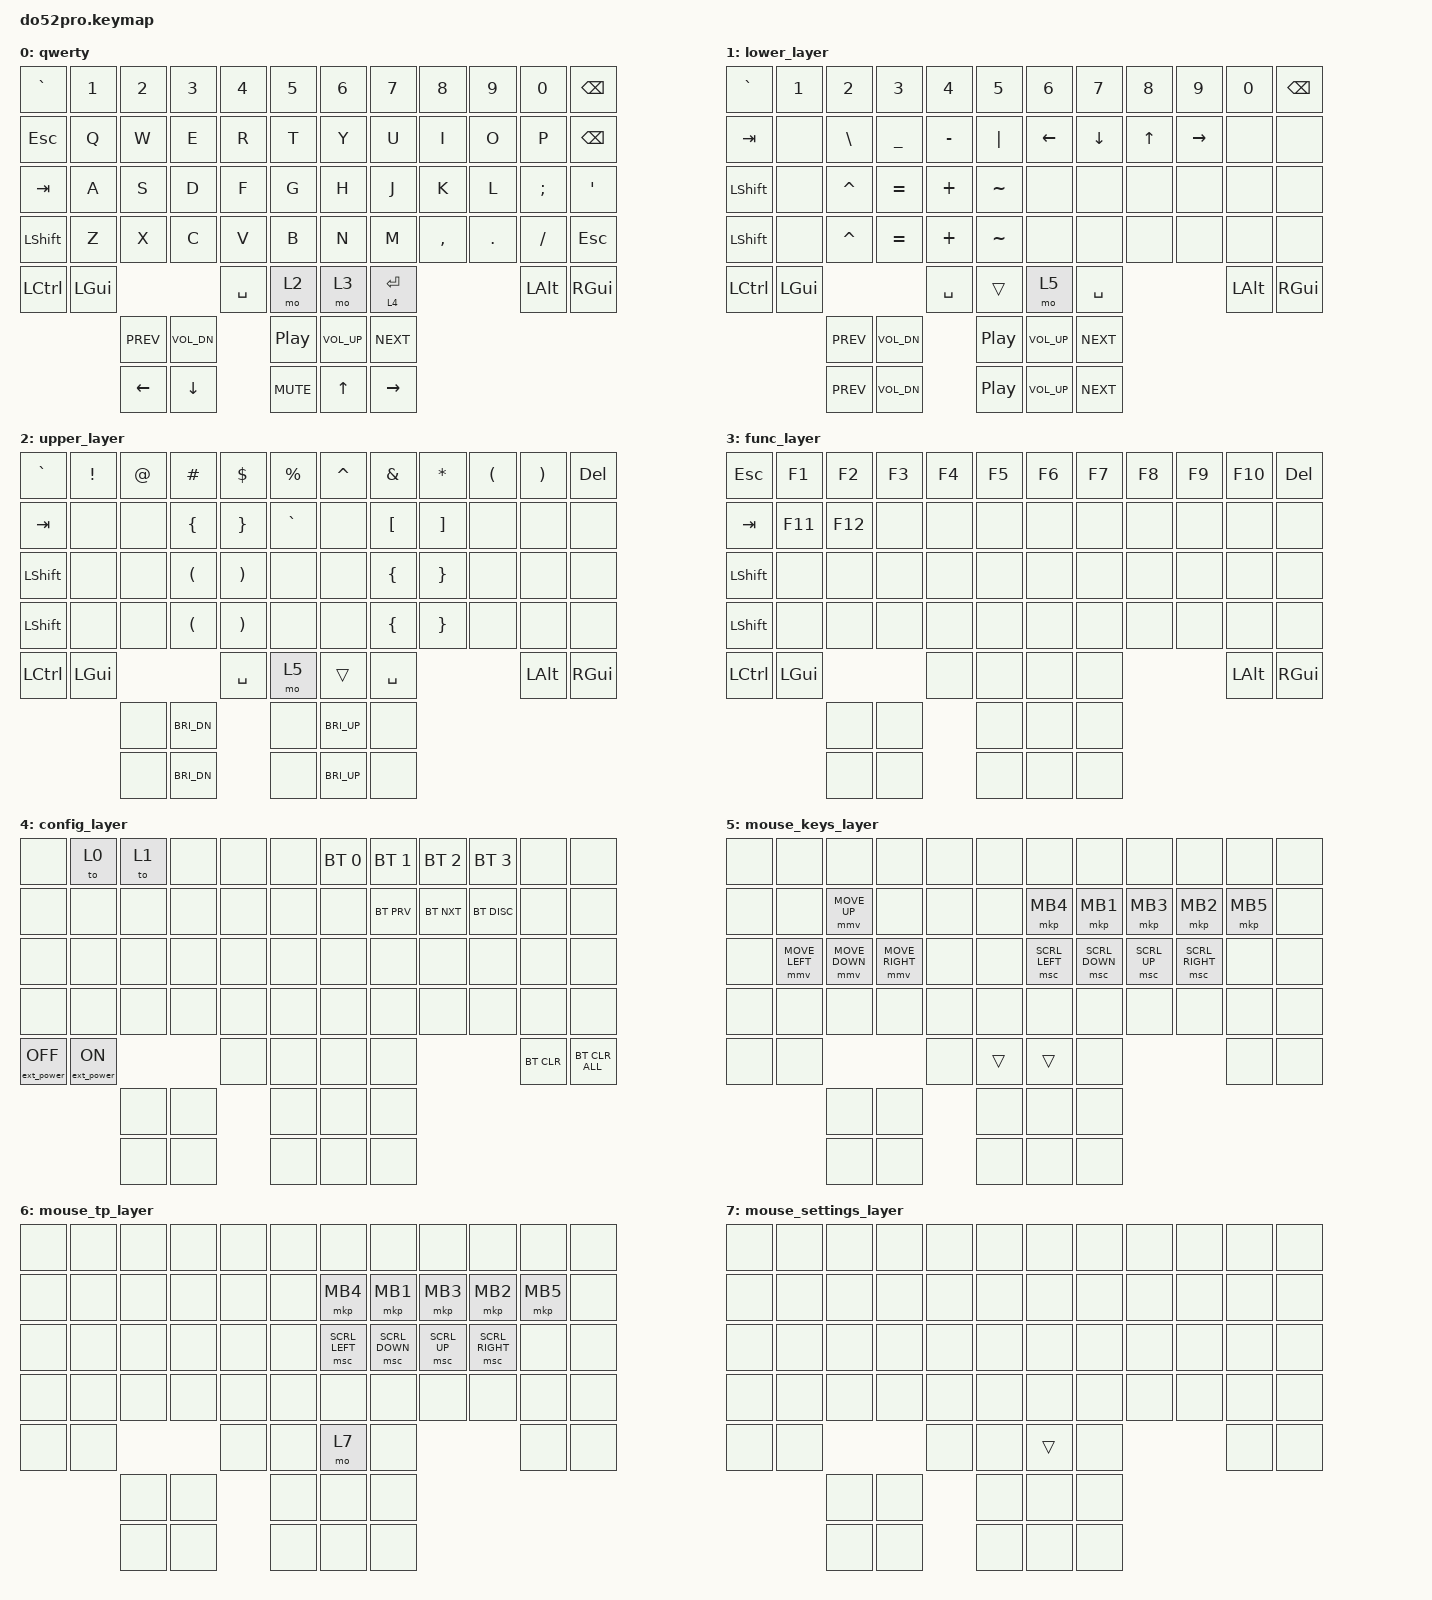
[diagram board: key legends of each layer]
#include <behaviors.dtsi>
#include <dt-bindings/zmk/keys.h>
#include <dt-bindings/zmk/bt.h>
#include <dt-bindings/zmk/ext_power.h>
#include <dt-bindings/zmk/pointing.h>

&lt {
    tapping-term-ms = <120>;
};

/ {
        keymap {
                compatible = "zmk,keymap";

                // Layer 0: QWERTY
                qwerty {
                        bindings = <
   &kp GRAVE &kp N1   &kp N2    &kp N3    &kp N4    &kp N5        &kp N6   &kp N7    &kp N8  &kp N9    &kp N0   &kp BSPC
   &kp ESC   &kp Q    &kp W &kp E  &kp R     &kp T       &kp Y    &kp U &kp I     &kp O   &kp P    &kp BSPC
   &kp TAB   &kp A    &kp S &kp D  &kp F     &kp G       &kp H    &kp J &kp K     &kp L   &kp SEMI &kp SQT
   &kp LSHFT &kp Z    &kp X &kp C  &kp V     &kp B       &kp N    &kp M &kp COMMA &kp DOT &kp FSLH &kp ESC
   &kp LCTRL &kp LGUI              &kp SPACE &mo 2       &mo 3    &lt 4 RET               &kp LALT &kp RGUI
                                    // DPAD Left, Down, Middle, Up, Right
                        &kp C_PREV &kp C_VOL_DN  &kp C_PP &kp C_VOL_UP &kp C_NEXT
                        &kp LEFT  &kp DOWN  &kp K_MUTE   &kp UP &kp RIGHT
                        >;
                };

                // Layer 1: Lower (numbers + navigation)
                lower_layer {
                        bindings = <
   &kp GRAVE &kp N1   &kp N2    &kp N3    &kp N4    &kp N5        &kp N6   &kp N7    &kp N8  &kp N9    &kp N0   &kp BSPC
   &kp TAB   &none    &kp BSLH  &kp UNDER &kp MINUS &kp PIPE      &kp LEFT &kp DOWN  &kp UP  &kp RIGHT &none    &none
   &kp LSHFT &none    &kp CARET &kp EQUAL &kp PLUS  &kp TILDE     &none    &none     &none   &none     &none    &none
   &kp LSHFT &none    &kp CARET &kp EQUAL &kp PLUS  &kp TILDE     &none    &none     &none   &none     &none    &none
   &kp LCTRL &kp LGUI                     &kp SPACE &trans        &mo 5    &kp SPACE                   &kp LALT &kp RGUI
                                    // DPAD Left, Down, Middle, Up, Right
                        &kp C_PREV &kp C_VOL_DN  &kp C_PP &kp C_VOL_UP &kp C_NEXT
                        &kp C_PREV &kp C_VOL_DN  &kp C_PP &kp C_VOL_UP &kp C_NEXT
                        >;
                };

                // Layer 2: Upper (symbols)
                upper_layer {
                        bindings = <
   &kp GRAVE &kp EXCL &kp AT &kp HASH &kp DLLR  &kp PRCNT        &kp CARET &kp AMPS  &kp ASTRK &kp LPAR &kp RPAR &kp DEL
   &kp TAB   &none    &none  &kp LBRC &kp RBRC  &kp GRAVE        &none     &kp LBKT  &kp RBKT  &none    &none    &none
   &kp LSHFT &none    &none  &kp LPAR &kp RPAR  &none            &none     &kp LBRC  &kp RBRC  &none    &none    &none
   &kp LSHFT &none    &none  &kp LPAR &kp RPAR  &none            &none     &kp LBRC  &kp RBRC  &none    &none    &none
   &kp LCTRL &kp LGUI                 &kp SPACE &mo 5            &trans    &kp SPACE                    &kp LALT &kp RGUI
                                    // DPAD Left, Down, Middle, Up, Right
                                    &none &kp C_BRI_DN  &none &kp C_BRI_UP &none
                                    &none &kp C_BRI_DN  &none &kp C_BRI_UP &none
                        >;
                };

                // Layer 3: Function keys
                func_layer {
                        bindings = <
   &kp ESC   &kp F1   &kp F2  &kp F3 &kp F4 &kp F5      &kp F6   &kp F7   &kp F8   &kp F9   &kp F10  &kp DEL
   &kp TAB   &kp F11  &kp F12 &none  &none  &none       &none    &none    &none    &none    &none    &none
   &kp LSHFT &none    &none   &none  &none  &none       &none    &none    &none    &none    &none    &none
   &kp LSHFT &none    &none   &none  &none  &none       &none    &none    &none    &none    &none    &none
   &kp LCTRL &kp LGUI                &none  &none       &none    &none                      &kp LALT &kp RGUI
                                    // DPAD Left, Down, Middle, Up, Right
                                      &none &none &none &none &none
                                      &none &none &none &none &none
                        >;
                };

                // Layer 4: Config (BT, power)
                config_layer {
                        bindings = <
   &none        &to 0       &to 1 &none &none &none           &bt BT_SEL 0 &bt BT_SEL 1 &bt BT_SEL 2 &bt BT_SEL 3 &none &none
   &none        &none       &none &none &none &none           &none        &bt BT_PRV   &bt BT_NXT   &bt BT_DISC  &none &none
   &none        &none       &none &none &none &none           &none        &none        &none        &none        &none &none
   &none        &none       &none &none &none &none           &none        &none        &none        &none        &none &none
   &ext_power EP_OFF &ext_power EP_ON   &none &none           &none        &none                  &bt BT_CLR   &bt BT_CLR_ALL
                                    // DPAD Left, Down, Middle, Up, Right
                                      &none &none &none &none &none
                                      &none &none &none &none &none
                        >;
                };

                // Layer 5: Mouse keys (software mouse movement)
                mouse_keys_layer {
                        bindings = <
   &none  &none  &none  &none  &none  &none       &none    &none    &none    &none    &none    &none
   &none  &none  &mmv MOVE_UP  &none  &none  &none       &mkp MB4 &mkp MB1 &mkp MB3 &mkp MB2 &mkp MB5 &none
   &none  &mmv MOVE_LEFT  &mmv MOVE_DOWN  &mmv MOVE_RIGHT  &none  &none       &msc SCRL_LEFT &msc SCRL_DOWN &msc SCRL_UP &msc SCRL_RIGHT &none &none
   &none  &none  &none  &none  &none  &none       &none    &none    &none    &none    &none    &none
   &none  &none                &none  &trans       &trans   &none                      &none &none
                                    // DPAD Left, Down, Middle, Up, Right
                                      &none &none &none &none &none
                                      &none &none &none &none &none
                        >;
                };

                // Layer 6: Mouse TrackPoint (auto-activated on TP movement)
                mouse_tp_layer {
                        bindings = <
   &none  &none  &none  &none  &none  &none       &none    &none    &none    &none    &none    &none
   &none  &none  &none  &none  &none  &none       &mkp MB4 &mkp MB1 &mkp MB3 &mkp MB2 &mkp MB5 &none
   &none  &none  &none  &none  &none  &none       &msc SCRL_LEFT &msc SCRL_DOWN &msc SCRL_UP &msc SCRL_RIGHT &none &none
   &none  &none  &none  &none  &none  &none       &none    &none    &none    &none    &none    &none
   &none  &none                &none  &none        &mo 7    &none                      &none &none
                                    // DPAD Left, Down, Middle, Up, Right
                                      &none &none &none &none &none
                                      &none &none &none &none &none
                        >;
                };

                // Layer 7: Mouse settings
                // Runtime trackpoint tuning (&mms) is not supported on the
                // native ZMK 0.3 driver; tune via devicetree properties on
                // the trackpoint node instead (tp-sensitivity, ...).
                mouse_settings_layer {
                        bindings = <
   &none  &none  &none  &none  &none  &none       &none  &none  &none  &none  &none   &none
   &none  &none  &none  &none  &none  &none       &none  &none  &none  &none  &none   &none
   &none  &none  &none  &none  &none  &none       &none  &none  &none  &none  &none   &none
   &none  &none  &none  &none  &none  &none       &none  &none  &none  &none  &none   &none
   &none  &none                &none  &none        &trans &none                      &none  &none
                                    // DPAD Left, Down, Middle, Up, Right
                                      &none &none &none &none &none
                                      &none &none &none &none &none
                        >;
                };
        };
};
